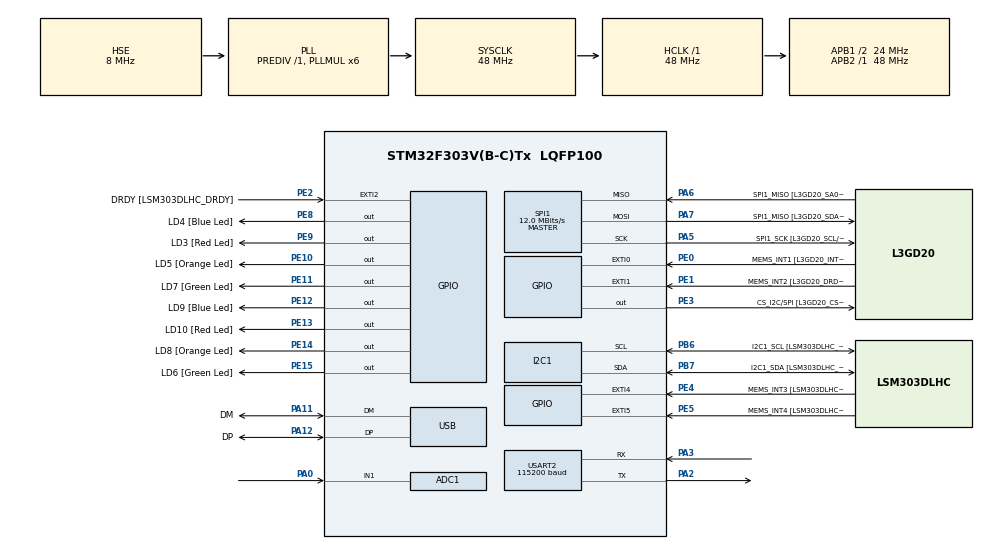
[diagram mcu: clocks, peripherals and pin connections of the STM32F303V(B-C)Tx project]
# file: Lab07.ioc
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ADC1.Channel-0\#ChannelRegularConversion=ADC_CHANNEL_1
ADC1.ContinuousConvMode=ENABLE
ADC1.NbrOfConversionFlag=1
ADC1.Offset-0\#ChannelRegularConversion=0
ADC1.OffsetNumber-0\#ChannelRegularConversion=ADC_OFFSET_NONE
ADC1.Rank-0\#ChannelRegularConversion=1
ADC1.SamplingTime-0\#ChannelRegularConversion=ADC_SAMPLETIME_1CYCLE_5
ADC1.SamplingTimeOPAMP-0\#ChannelRegularConversion=ADC_SAMPLETIME_19CYCLES_5
ADC1.master=1
I2C1.Timing=0x2000090E
I2C1.Timing-I2C=0x2000090E
Mcu.Family=STM32F3
Mcu.Name=STM32F303V(B-C)Tx
Mcu.Package=LQFP100
NVIC.ADC1_2_IRQn=true\:0\:0\:false\:false\:true\:true\:true\:true
NVIC.PriorityGroup=NVIC_PRIORITYGROUP_0
PA0.Mode=IN1-Single-Ended
PA0.Signal=ADC1_IN1
PA11.GPIO_Label=DM
PA11.Mode=Device
PA11.Signal=USB_DM
PA12.GPIO_Label=DP
PA12.Mode=Device
PA12.Signal=USB_DP
PA13.GPIO_Label=SWDIO
PA13.Mode=Serial_Wire
PA13.Signal=SYS_JTMS-SWDIO
PA14.GPIO_Label=SWCLK
PA14.Mode=Serial_Wire
PA14.Signal=SYS_JTCK-SWCLK
PA2.Mode=Asynchronous
PA2.Signal=USART2_TX
PA3.Mode=Asynchronous
PA3.Signal=USART2_RX
PA5.GPIO_Label=SPI1_SCK [L3GD20_SCL/SPC]
PA5.Mode=Full_Duplex_Master
PA5.Signal=SPI1_SCK
PA6.GPIO_Label=SPI1_MISO [L3GD20_SA0/SDO]
PA6.Mode=Full_Duplex_Master
PA6.Signal=SPI1_MISO
PA7.GPIO_Label=SPI1_MISO [L3GD20_SDA/SDI/SDO]
PA7.Mode=Full_Duplex_Master
PA7.Signal=SPI1_MOSI
PB3.GPIO_Label=SWO
PB3.Signal=SYS_JTDO-TRACESWO
PB6.GPIO_Label=I2C1_SCL [LSM303DLHC_SCL]
PB6.GPIO_Pu=GPIO_PULLUP
PB6.Mode=I2C
PB6.Signal=I2C1_SCL
PB7.GPIO_Label=I2C1_SDA [LSM303DLHC_SDA]
PB7.GPIO_Pu=GPIO_PULLUP
PB7.Mode=I2C
PB7.Signal=I2C1_SDA
PC14-OSC32_IN.GPIO_Label=OSC32_IN
PC14-OSC32_IN.Signal=RCC_OSC32_IN
PC15-OSC32_OUT.GPIO_Label=OSC32_OUT
PC15-OSC32_OUT.Signal=RCC_OSC32_OUT
PE0.GPIO_Label=MEMS_INT1 [L3GD20_INT1]
PE0.GPIO_ModeDefaultEXTI=GPIO_MODE_EVT_RISING
PE0.Signal=GPXTI0
PE1.GPIO_Label=MEMS_INT2 [L3GD20_DRDY/INT2]
PE1.GPIO_ModeDefaultEXTI=GPIO_MODE_EVT_RISING
PE1.Signal=GPXTI1
PE10.GPIO_Label=LD5 [Orange Led]
PE10.Signal=GPIO_Output
PE11.GPIO_Label=LD7 [Green Led]
PE11.Signal=GPIO_Output
PE12.GPIO_Label=LD9 [Blue Led]
PE12.Signal=GPIO_Output
PE13.GPIO_Label=LD10 [Red Led]
PE13.Signal=GPIO_Output
PE14.GPIO_Label=LD8 [Orange Led]
PE14.Signal=GPIO_Output
PE15.GPIO_Label=LD6 [Green Led]
PE15.Signal=GPIO_Output
PE2.GPIO_Label=DRDY [LSM303DLHC_DRDY]
PE2.GPIO_ModeDefaultEXTI=GPIO_MODE_EVT_RISING
PE2.Signal=GPXTI2
PE3.GPIO_Label=CS_I2C/SPI [L3GD20_CS_I2C/SPI]
PE3.Signal=GPIO_Output
PE4.GPIO_Label=MEMS_INT3 [LSM303DLHC_INT1]
PE4.GPIO_ModeDefaultEXTI=GPIO_MODE_EVT_RISING
PE4.Signal=GPXTI4
PE5.GPIO_Label=MEMS_INT4 [LSM303DLHC_INT2]
PE5.GPIO_ModeDefaultEXTI=GPIO_MODE_EVT_RISING
PE5.Signal=GPXTI5
PE8.GPIO_Label=LD4 [Blue Led]
PE8.Signal=GPIO_Output
PE9.GPIO_Label=LD3 [Red Led]
PE9.Signal=GPIO_Output
PF0-OSC_IN.GPIO_Label=OSC_IN
PF0-OSC_IN.Mode=HSE-External-Clock-Source
PF0-OSC_IN.Signal=RCC_OSC_IN
PF1-OSC_OUT.GPIO_Label=OSC_OUT
PF1-OSC_OUT.Signal=RCC_OSC_OUT
ProjectManager.HeapSize=0x200
ProjectManager.StackSize=0x400
ProjectManager.TargetToolchain=CMake
RCC.AHBFreq_Value=48000000
RCC.APB1CLKDivider=RCC_HCLK_DIV2
RCC.APB1Freq_Value=24000000
RCC.APB1TimFreq_Value=48000000
RCC.APB2Freq_Value=48000000
RCC.APB2TimFreq_Value=48000000
RCC.CortexFreq_Value=48000000
RCC.HCLKFreq_Value=48000000
RCC.HSE_VALUE=8000000
RCC.HSI_VALUE=8000000
RCC.LSE_VALUE=32768
RCC.PLLMUL=RCC_PLL_MUL6
RCC.SYSCLKFreq_VALUE=48000000
RCC.SYSCLKSourceVirtual=RCC_SYSCLKSOURCE_PLLCLK
RCC.USBFreq_Value=48000000
SPI1.BaudRatePrescaler=SPI_BAUDRATEPRESCALER_4
SPI1.BaudRatePrescaler-Full_Duplex_Master=SPI_BAUDRATEPRESCALER_2
SPI1.CalculateBaudRate=12.0 MBits/s
SPI1.CalculateBaudRate-Full_Duplex_Master=24.0 MBits/s
SPI1.Direction=SPI_DIRECTION_2LINES
SPI1.Mode=SPI_MODE_MASTER
SPI1.Mode-Full_Duplex_Master=SPI_MODE_MASTER
SPI1.VirtualType=VM_MASTER
STMicroelectronics.X-CUBE-ALGOBUILD.1.4.0.LibraryCcDSPOoLibraryJjDSPOoLibrary=true
USART2.BaudRate=115200
USART2.VirtualMode-Asynchronous=VM_ASYNC
VP_STMicroelectronics.X-CUBE-ALGOBUILD_VS_DSPOoLibraryJjLibrary_1.4.0_1.4.0.Mode=DSPOoLibraryJjLibrary
board=STM32F3DISCOVERY

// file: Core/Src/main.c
/* USER CODE BEGIN Header */
/**
  ******************************************************************************
  * @file           : main.c
  * @brief          : Lab 7 Task 2 - Signal Filtering Using CMSIS DSP
  ******************************************************************************
  * Hardware:
  * - Function generator -> PA0 (ADC1_IN1)
  * - UART2 PA2(TX)/PA3(RX) @ 115200 -> Python plotter
  ******************************************************************************
  */
/* USER CODE END Header */
#include "main.h"

/* USER CODE BEGIN Includes */
#include "arm_math.h"
#include <stdio.h>
#include <stdarg.h>
#include <string.h>
/* USER CODE END Includes */

/* USER CODE BEGIN PD */
#define FILTER_LEN  10
#define ADC_REF_MV  3300U
#define ADC_MAX_VAL 4095U
/* USER CODE END PD */

ADC_HandleTypeDef hadc1;

I2C_HandleTypeDef hi2c1;

SPI_HandleTypeDef hspi1;

UART_HandleTypeDef huart2;

PCD_HandleTypeDef hpcd_USB_FS;

/* USER CODE BEGIN PV */
static char      uart_buf[128];
static float32_t filter_buf[FILTER_LEN];
static uint8_t   filter_idx  = 0;
static volatile uint16_t adc_raw   = 0;
static volatile uint8_t  adc_ready = 0;
/* USER CODE END PV */

void SystemClock_Config(void);
static void MX_GPIO_Init(void);
static void MX_ADC1_Init(void);
static void MX_I2C1_Init(void);
static void MX_SPI1_Init(void);
static void MX_USART2_UART_Init(void);
static void MX_USB_PCD_Init(void);
/* USER CODE BEGIN PFP */
static void      UART_Printf(const char *fmt, ...);
static void      Filter_Init(void);
static float32_t Filter_Update(float32_t sample);
/* USER CODE END PFP */

/* USER CODE BEGIN 0 */

static void UART_Printf(const char *fmt, ...)
{
    va_list ap;
    va_start(ap, fmt);
    vsnprintf(uart_buf, sizeof(uart_buf), fmt, ap);
    va_end(ap);
    HAL_UART_Transmit(&huart2, (uint8_t *)uart_buf, strlen(uart_buf), HAL_MAX_DELAY);
}

static void Filter_Init(void)
{
    filter_idx = 0;
    arm_fill_f32(0.0f, filter_buf, FILTER_LEN);
}

static float32_t Filter_Update(float32_t new_sample)
{
    float32_t result;
    filter_buf[filter_idx] = new_sample;
    filter_idx = (filter_idx + 1) % FILTER_LEN;
    arm_mean_f32(filter_buf, FILTER_LEN, &result);
    return result;
}

/* ADC conversion complete callback - fires after every conversion */
void HAL_ADC_ConvCpltCallback(ADC_HandleTypeDef *hadc)
{
    if (hadc->Instance == ADC1)
    {
        adc_raw   = (uint16_t)HAL_ADC_GetValue(hadc);
        adc_ready = 1;
    }
}

/* USER CODE END 0 */

int main(void)
{

  /* MCU Configuration--------------------------------------------------------*/

  /* Reset of all peripherals, Initializes the Flash interface and the Systick. */
  HAL_Init();

  /* Configure the system clock */
  SystemClock_Config();

  /* Initialize all configured peripherals */
  MX_GPIO_Init();
  MX_ADC1_Init();
  MX_I2C1_Init();
  MX_SPI1_Init();
  MX_USART2_UART_Init();
  MX_USB_PCD_Init();
  /* USER CODE BEGIN 2 */
  HAL_ADCEx_Calibration_Start(&hadc1, ADC_SINGLE_ENDED);
  Filter_Init();
  HAL_ADC_Start_IT(&hadc1);
  UART_Printf("# LAB7 TASK2 START\r\n");
  /* USER CODE END 2 */

  /* Infinite loop */
  while (1)
  {

    /* USER CODE BEGIN 3 */
      if (adc_ready)
      {
          adc_ready = 0;

          /* Convert raw count to mV */
          uint32_t raw_mv = ((uint32_t)adc_raw * ADC_REF_MV) / ADC_MAX_VAL;

          /* Convert to float volts and filter */
          float32_t voltage_v   = (float32_t)adc_raw * (3.3f / 4095.0f);
          float32_t filtered_v  = Filter_Update(voltage_v);
          uint32_t  filtered_mv = (uint32_t)(filtered_v * 1000.0f);

          /* Send to Python: raw_mV,filtered_mV */
          UART_Printf("%lu,%lu\r\n", raw_mv, filtered_mv);

          /* Small delay so UART can keep up with continuous ADC */
          HAL_Delay(10);
      }
  }
  /* USER CODE END 3 */
}

void SystemClock_Config(void)
{
  RCC_OscInitTypeDef RCC_OscInitStruct = {0};
  RCC_ClkInitTypeDef RCC_ClkInitStruct = {0};
  RCC_PeriphCLKInitTypeDef PeriphClkInit = {0};

  /** Initializes the RCC Oscillators according to the specified parameters
  * in the RCC_OscInitTypeDef structure.
  */
  RCC_OscInitStruct.OscillatorType = RCC_OSCILLATORTYPE_HSI|RCC_OSCILLATORTYPE_HSE;
  RCC_OscInitStruct.HSEState = RCC_HSE_BYPASS;
  RCC_OscInitStruct.HSEPredivValue = RCC_HSE_PREDIV_DIV1;
  RCC_OscInitStruct.HSIState = RCC_HSI_ON;
  RCC_OscInitStruct.HSICalibrationValue = RCC_HSICALIBRATION_DEFAULT;
  RCC_OscInitStruct.PLL.PLLState = RCC_PLL_ON;
  RCC_OscInitStruct.PLL.PLLSource = RCC_PLLSOURCE_HSE;
  RCC_OscInitStruct.PLL.PLLMUL = RCC_PLL_MUL6;
  if (HAL_RCC_OscConfig(&RCC_OscInitStruct) != HAL_OK)
  {
    Error_Handler();
  }

  /** Initializes the CPU, AHB and APB buses clocks
  */
  RCC_ClkInitStruct.ClockType = RCC_CLOCKTYPE_HCLK|RCC_CLOCKTYPE_SYSCLK
                              |RCC_CLOCKTYPE_PCLK1|RCC_CLOCKTYPE_PCLK2;
  RCC_ClkInitStruct.SYSCLKSource = RCC_SYSCLKSOURCE_PLLCLK;
  RCC_ClkInitStruct.AHBCLKDivider = RCC_SYSCLK_DIV1;
  RCC_ClkInitStruct.APB1CLKDivider = RCC_HCLK_DIV2;
  RCC_ClkInitStruct.APB2CLKDivider = RCC_HCLK_DIV1;

  if (HAL_RCC_ClockConfig(&RCC_ClkInitStruct, FLASH_LATENCY_1) != HAL_OK)
  {
    Error_Handler();
  }
  PeriphClkInit.PeriphClockSelection = RCC_PERIPHCLK_USB|RCC_PERIPHCLK_USART2
                              |RCC_PERIPHCLK_I2C1|RCC_PERIPHCLK_ADC12;
  PeriphClkInit.Usart2ClockSelection = RCC_USART2CLKSOURCE_PCLK1;
  PeriphClkInit.Adc12ClockSelection = RCC_ADC12PLLCLK_DIV1;
  PeriphClkInit.I2c1ClockSelection = RCC_I2C1CLKSOURCE_HSI;
  PeriphClkInit.USBClockSelection = RCC_USBCLKSOURCE_PLL;
  if (HAL_RCCEx_PeriphCLKConfig(&PeriphClkInit) != HAL_OK)
  {
    Error_Handler();
  }
}

static void MX_ADC1_Init(void)
{

  ADC_MultiModeTypeDef multimode = {0};
  ADC_ChannelConfTypeDef sConfig = {0};

  /** Common config
  */
  hadc1.Instance = ADC1;
  hadc1.Init.ClockPrescaler = ADC_CLOCK_ASYNC_DIV1;
  hadc1.Init.Resolution = ADC_RESOLUTION_12B;
  hadc1.Init.ScanConvMode = ADC_SCAN_DISABLE;
  hadc1.Init.ContinuousConvMode = ENABLE;
  hadc1.Init.DiscontinuousConvMode = DISABLE;
  hadc1.Init.ExternalTrigConvEdge = ADC_EXTERNALTRIGCONVEDGE_NONE;
  hadc1.Init.ExternalTrigConv = ADC_SOFTWARE_START;
  hadc1.Init.DataAlign = ADC_DATAALIGN_RIGHT;
  hadc1.Init.NbrOfConversion = 1;
  hadc1.Init.DMAContinuousRequests = DISABLE;
  hadc1.Init.EOCSelection = ADC_EOC_SINGLE_CONV;
  hadc1.Init.LowPowerAutoWait = DISABLE;
  hadc1.Init.Overrun = ADC_OVR_DATA_OVERWRITTEN;
  if (HAL_ADC_Init(&hadc1) != HAL_OK)
  {
    Error_Handler();
  }

  /** Configure the ADC multi-mode
  */
  multimode.Mode = ADC_MODE_INDEPENDENT;
  if (HAL_ADCEx_MultiModeConfigChannel(&hadc1, &multimode) != HAL_OK)
  {
    Error_Handler();
  }

  /** Configure Regular Channel
  */
  sConfig.Channel = ADC_CHANNEL_1;
  sConfig.Rank = ADC_REGULAR_RANK_1;
  sConfig.SingleDiff = ADC_SINGLE_ENDED;
  sConfig.SamplingTime = ADC_SAMPLETIME_1CYCLE_5;
  sConfig.OffsetNumber = ADC_OFFSET_NONE;
  sConfig.Offset = 0;
  if (HAL_ADC_ConfigChannel(&hadc1, &sConfig) != HAL_OK)
  {
    Error_Handler();
  }

}

static void MX_I2C1_Init(void)
{

  hi2c1.Instance = I2C1;
  hi2c1.Init.Timing = 0x2000090E;
  hi2c1.Init.OwnAddress1 = 0;
  hi2c1.Init.AddressingMode = I2C_ADDRESSINGMODE_7BIT;
  hi2c1.Init.DualAddressMode = I2C_DUALADDRESS_DISABLE;
  hi2c1.Init.OwnAddress2 = 0;
  hi2c1.Init.OwnAddress2Masks = I2C_OA2_NOMASK;
  hi2c1.Init.GeneralCallMode = I2C_GENERALCALL_DISABLE;
  hi2c1.Init.NoStretchMode = I2C_NOSTRETCH_DISABLE;
  if (HAL_I2C_Init(&hi2c1) != HAL_OK)
  {
    Error_Handler();
  }

  /** Configure Analogue filter
  */
  if (HAL_I2CEx_ConfigAnalogFilter(&hi2c1, I2C_ANALOGFILTER_ENABLE) != HAL_OK)
  {
    Error_Handler();
  }

  /** Configure Digital filter
  */
  if (HAL_I2CEx_ConfigDigitalFilter(&hi2c1, 0) != HAL_OK)
  {
    Error_Handler();
  }

}

static void MX_SPI1_Init(void)
{

  /* SPI1 parameter configuration*/
  hspi1.Instance = SPI1;
  hspi1.Init.Mode = SPI_MODE_MASTER;
  hspi1.Init.Direction = SPI_DIRECTION_2LINES;
  hspi1.Init.DataSize = SPI_DATASIZE_4BIT;
  hspi1.Init.CLKPolarity = SPI_POLARITY_LOW;
  hspi1.Init.CLKPhase = SPI_PHASE_1EDGE;
  hspi1.Init.NSS = SPI_NSS_SOFT;
  hspi1.Init.BaudRatePrescaler = SPI_BAUDRATEPRESCALER_4;
  hspi1.Init.FirstBit = SPI_FIRSTBIT_MSB;
  hspi1.Init.TIMode = SPI_TIMODE_DISABLE;
  hspi1.Init.CRCCalculation = SPI_CRCCALCULATION_DISABLE;
  hspi1.Init.CRCPolynomial = 7;
  hspi1.Init.CRCLength = SPI_CRC_LENGTH_DATASIZE;
  hspi1.Init.NSSPMode = SPI_NSS_PULSE_ENABLE;
  if (HAL_SPI_Init(&hspi1) != HAL_OK)
  {
    Error_Handler();
  }

}

static void MX_USART2_UART_Init(void)
{

  huart2.Instance = USART2;
  huart2.Init.BaudRate = 115200;
  huart2.Init.WordLength = UART_WORDLENGTH_8B;
  huart2.Init.StopBits = UART_STOPBITS_1;
  huart2.Init.Parity = UART_PARITY_NONE;
  huart2.Init.Mode = UART_MODE_TX_RX;
  huart2.Init.HwFlowCtl = UART_HWCONTROL_NONE;
  huart2.Init.OverSampling = UART_OVERSAMPLING_16;
  huart2.Init.OneBitSampling = UART_ONE_BIT_SAMPLE_DISABLE;
  huart2.AdvancedInit.AdvFeatureInit = UART_ADVFEATURE_NO_INIT;
  if (HAL_UART_Init(&huart2) != HAL_OK)
  {
    Error_Handler();
  }

}

static void MX_USB_PCD_Init(void)
{

  hpcd_USB_FS.Instance = USB;
  hpcd_USB_FS.Init.dev_endpoints = 8;
  hpcd_USB_FS.Init.speed = PCD_SPEED_FULL;
  hpcd_USB_FS.Init.phy_itface = PCD_PHY_EMBEDDED;
  hpcd_USB_FS.Init.low_power_enable = DISABLE;
  hpcd_USB_FS.Init.battery_charging_enable = DISABLE;
  if (HAL_PCD_Init(&hpcd_USB_FS) != HAL_OK)
  {
    Error_Handler();
  }

}

static void MX_GPIO_Init(void)
{
  GPIO_InitTypeDef GPIO_InitStruct = {0};

  /* GPIO Ports Clock Enable */
  __HAL_RCC_GPIOE_CLK_ENABLE();
  __HAL_RCC_GPIOC_CLK_ENABLE();
  __HAL_RCC_GPIOF_CLK_ENABLE();
  __HAL_RCC_GPIOA_CLK_ENABLE();
  __HAL_RCC_GPIOB_CLK_ENABLE();

  /*Configure GPIO pin Output Level */
  HAL_GPIO_WritePin(GPIOE, CS_I2C_SPI_Pin|LD4_Pin|LD3_Pin|LD5_Pin
                          |LD7_Pin|LD9_Pin|LD10_Pin|LD8_Pin
                          |LD6_Pin, GPIO_PIN_RESET);

  /*Configure GPIO pins : DRDY_Pin MEMS_INT3_Pin MEMS_INT4_Pin MEMS_INT1_Pin
                           MEMS_INT2_Pin */
  GPIO_InitStruct.Pin = DRDY_Pin|MEMS_INT3_Pin|MEMS_INT4_Pin|MEMS_INT1_Pin
                          |MEMS_INT2_Pin;
  GPIO_InitStruct.Mode = GPIO_MODE_EVT_RISING;
  GPIO_InitStruct.Pull = GPIO_NOPULL;
  HAL_GPIO_Init(GPIOE, &GPIO_InitStruct);

  /*Configure GPIO pins : CS_I2C_SPI_Pin LD4_Pin LD3_Pin LD5_Pin
                           LD7_Pin LD9_Pin LD10_Pin LD8_Pin
                           LD6_Pin */
  GPIO_InitStruct.Pin = CS_I2C_SPI_Pin|LD4_Pin|LD3_Pin|LD5_Pin
                          |LD7_Pin|LD9_Pin|LD10_Pin|LD8_Pin
                          |LD6_Pin;
  GPIO_InitStruct.Mode = GPIO_MODE_OUTPUT_PP;
  GPIO_InitStruct.Pull = GPIO_NOPULL;
  GPIO_InitStruct.Speed = GPIO_SPEED_FREQ_LOW;
  HAL_GPIO_Init(GPIOE, &GPIO_InitStruct);

}

void Error_Handler(void)
{
  __disable_irq();
  while (1) {}
}
